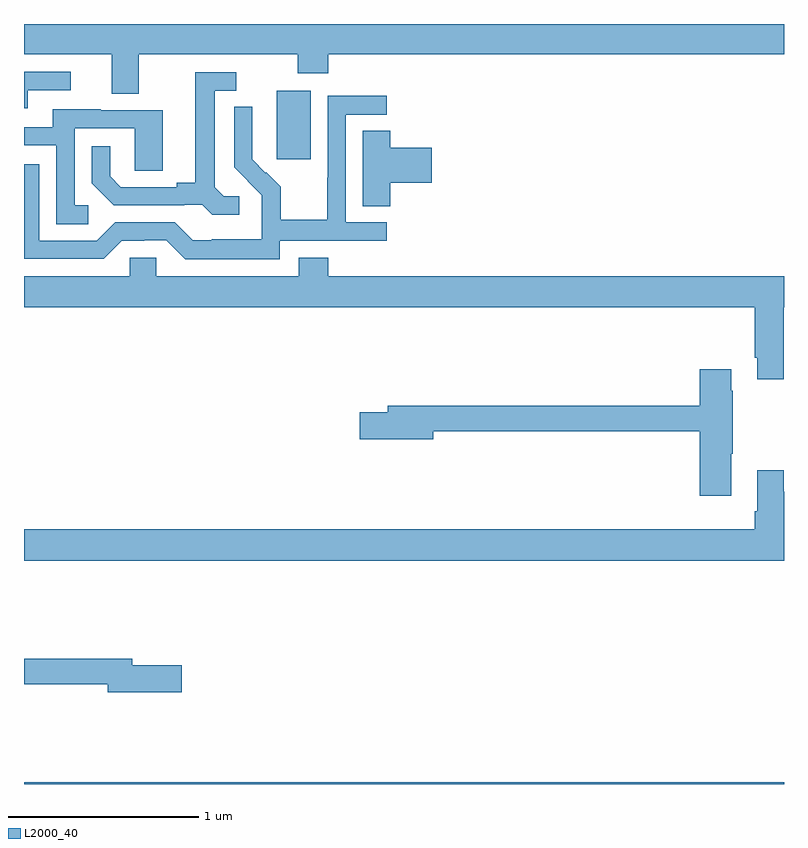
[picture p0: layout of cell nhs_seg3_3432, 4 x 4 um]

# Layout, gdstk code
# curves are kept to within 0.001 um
import gdstk
lib = gdstk.Library(unit=1e-6, precision=1e-09)
def R(c, l, rs):  # rectangles x0, y0, x1, y1
    for r in rs: c.add(gdstk.rectangle(r[:2], r[2:], *l))
def P(c, l, *ps):  # polygons
    for p in ps: c.add(gdstk.Polygon(p, *l))
L2000_40 = (2000, 40)

nhs_seg3_3432 = lib.new_cell('nhs_seg3_3432')
R(nhs_seg3_3432, L2000_40, [(289,706.4,293,706.408), (290.33,709.689,290.509,710.05)])
P(nhs_seg3_3432, L2000_40, [(289.603,710.24),(290.44,710.24),(290.44,710.141),(290.6,710.141),(290.6,710.24),(293,710.24),(293,710.4),(289,710.4),(289,710.24),(289.463,710.24),(289.463,710.032),(289.603,710.032)],
  [(289.021,710.052),(289.246,710.052),(289.246,710.148),(289,710.148),(289,709.956),(289.021,709.956)],
  [(290.134,709.494),(290.052,709.494),(290.005,709.541),(290.005,710.049),(290.116,710.049),(290.116,710.145),(289.901,710.145),(289.901,709.565),(289.805,709.565),(289.805,709.542),(289.51,709.542),(289.453,709.599),(289.453,709.756),(289.356,709.756),(289.356,709.562),(289.472,709.446),(289.844,709.446),(289.844,709.449),(289.938,709.449),(289.99,709.397),(290.134,709.397)],
  [(290.346,709.26),(290.908,709.26),(290.908,709.356),(290.694,709.356),(290.694,709.923),(290.908,709.923),(290.908,710.022),(290.598,710.022),(290.598,709.592),(290.596,709.592),(290.596,709.369),(290.351,709.369),(290.351,709.543),(290.274,709.62),(290.271,709.617),(290.201,709.688),(290.202,709.964),(290.106,709.964),(290.106,709.646),(290.252,709.498),(290.252,709.401),(290.25,709.401),(290.25,709.267),(289.987,709.267),(289.987,709.263),(289.887,709.263),(289.794,709.356),(289.479,709.356),(289.383,709.26),(289.08,709.26),(289.08,709.662),(289,709.662),(289,709.164),(289.419,709.164),(289.515,709.26),(289.634,709.26),(289.634,709.263),(289.749,709.263),(289.849,709.163),(290.346,709.163)],
  [(289.339,709.446),(289.266,709.446),(289.266,709.851),(289.584,709.851),(289.584,709.627),(289.729,709.627),(289.729,709.947),(289.405,709.947),(289.405,709.951),(289.151,709.951),(289.151,709.857),(289,709.857),(289,709.761),(289.17,709.761),(289.17,709.345),(289.339,709.345)],
  [(290.927,709.565),(291.145,709.565),(291.145,709.748),(290.927,709.748),(290.927,709.838),(290.783,709.838),(290.783,709.441),(290.927,709.441)],
  [(292.847,708.643),(292.859,708.643),(292.859,708.531),(292.999,708.531),(292.999,708.908),(293,708.908),(293,709.072),(290.6,709.072),(290.6,709.171),(290.447,709.171),(290.447,709.072),(289.695,709.072),(289.695,709.17),(289.557,709.17),(289.557,709.072),(289,709.072),(289,708.908),(292.847,708.908)],
  [(292.723,708.139),(292.731,708.139),(292.731,708.47),(292.723,708.47),(292.723,708.583),(292.556,708.583),(292.556,708.392),(290.915,708.392),(290.915,708.356),(290.766,708.356),(290.766,708.214),(291.154,708.214),(291.154,708.256),(292.556,708.256),(292.556,707.916),(292.723,707.916)],
  [(293,707.939),(292.999,707.939),(292.999,708.052),(292.859,708.052),(292.859,707.836),(292.847,707.836),(292.847,707.74),(289,707.74),(289,707.576),(293,707.576)],
  [(289.831,707.024),(289.57,707.024),(289.57,707.06),(289,707.06),(289,706.924),(289.442,706.924),(289.442,706.882),(289.831,706.882)])

lib.write_gds('nhs_seg3_3432.gds')
